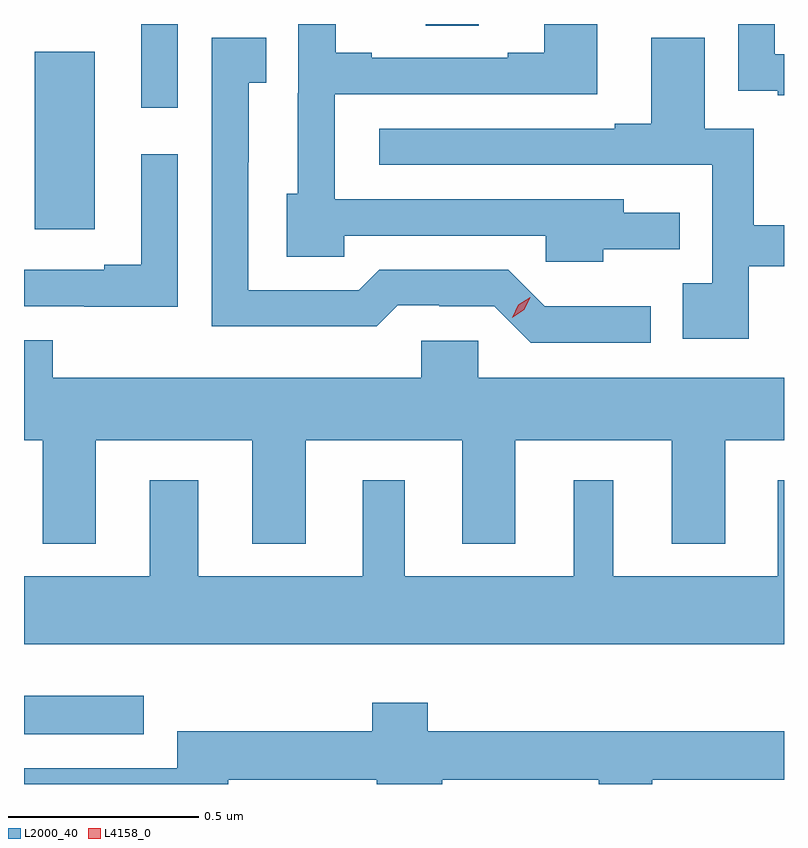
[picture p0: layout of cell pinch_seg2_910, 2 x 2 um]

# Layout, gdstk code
import gdstk
lib = gdstk.Library(unit=1e-6, precision=1e-09)
def R(c, l, rs):  # rectangles x0, y0, x1, y1
    for r in rs: c.add(gdstk.rectangle(r[:2], r[2:], *l))
def P(c, l, *ps):  # polygons
    for p in ps: c.add(gdstk.Polygon(p, *l))
L2000_40 = (2000, 40)
L4158_0 = (4158, 0)

pinch_seg2_910 = lib.new_cell('pinch_seg2_910')
R(pinch_seg2_910, L2000_40, [(381.55,588.254,381.865,588.355), (381.578,589.583,381.736,590.05), (381.858,589.902,381.954,590.123), (382.607,590.119,382.747,590.123)])
P(pinch_seg2_910, L2000_40, [(383.074,589.53),(383.276,589.53),(383.276,589.626),(383.128,589.626),(383.128,589.662),(382.368,589.662),(382.368,589.938),(383.059,589.938),(383.059,590.123),(382.919,590.123),(382.919,590.047),(382.823,590.047),(382.823,590.034),(382.465,590.034),(382.465,590.047),(382.371,590.047),(382.371,590.123),(382.272,590.123),(382.272,589.941),(382.271,589.941),(382.271,589.676),(382.241,589.676),(382.241,589.51),(382.393,589.51),(382.393,589.566),(382.923,589.566),(382.923,589.497),(383.074,589.497)],
  [(383.55,590.043),(383.526,590.043),(383.526,590.123),(383.43,590.123),(383.43,589.947),(383.533,589.947),(383.533,589.935),(383.55,589.935)],
  [(383.457,589.485),(383.55,589.485),(383.55,589.594),(383.47,589.594),(383.47,589.848),(383.341,589.848),(383.341,590.087),(383.201,590.087),(383.201,589.861),(383.105,589.861),(383.105,589.848),(382.485,589.848),(382.485,589.752),(383.361,589.752),(383.361,589.441),(383.284,589.441),(383.284,589.295),(383.457,589.295)],
  [(383.199,589.38),(382.92,589.38),(382.824,589.476),(382.485,589.476),(382.431,589.422),(382.14,589.422),(382.14,589.759),(382.141,589.759),(382.141,589.969),(382.187,589.969),(382.187,590.087),(382.044,590.087),(382.044,589.328),(382.478,589.328),(382.533,589.383),(382.643,589.383),(382.643,589.38),(382.788,589.38),(382.884,589.284),(383.199,589.284)],
  [(381.954,589.78),(381.858,589.78),(381.858,589.489),(381.761,589.489),(381.761,589.476),(381.55,589.476),(381.55,589.38),(381.709,589.38),(381.709,589.379),(381.954,589.379)],
  [(381.739,589.028),(382.151,589.028),(382.151,588.755),(382.291,588.755),(382.291,589.028),(382.703,589.028),(382.703,588.755),(382.843,588.755),(382.843,589.028),(383.255,589.028),(383.255,588.755),(383.395,588.755),(383.395,589.028),(383.55,589.028),(383.55,589.192),(382.746,589.192),(382.746,589.29),(382.596,589.29),(382.596,589.192),(381.626,589.192),(381.626,589.291),(381.55,589.291),(381.55,589.028),(381.599,589.028),(381.599,588.755),(381.739,588.755)],
  [(383.55,588.922),(383.534,588.922),(383.534,588.67),(383.101,588.67),(383.101,588.922),(382.997,588.922),(382.997,588.67),(382.552,588.67),(382.552,588.922),(382.442,588.922),(382.442,588.67),(382.009,588.67),(382.009,588.922),(381.881,588.922),(381.881,588.67),(381.55,588.67),(381.55,588.491),(383.55,588.491)],
  [(382.087,588.134),(382.478,588.134),(382.478,588.123),(382.651,588.123),(382.651,588.134),(383.063,588.134),(383.063,588.123),(383.203,588.123),(383.203,588.134),(383.55,588.134),(383.55,588.262),(382.613,588.262),(382.613,588.337),(382.466,588.337),(382.466,588.262),(381.953,588.262),(381.953,588.165),(381.55,588.165),(381.55,588.123),(382.087,588.123)])
P(pinch_seg2_910, L4158_0, [(382.835,589.35),(382.835,589.35),(382.851,589.384),(382.882,589.404),(382.882,589.404),(382.882,589.404),(382.866,589.371),(382.835,589.35)])

lib.write_gds('pinch_seg2_910.gds')
